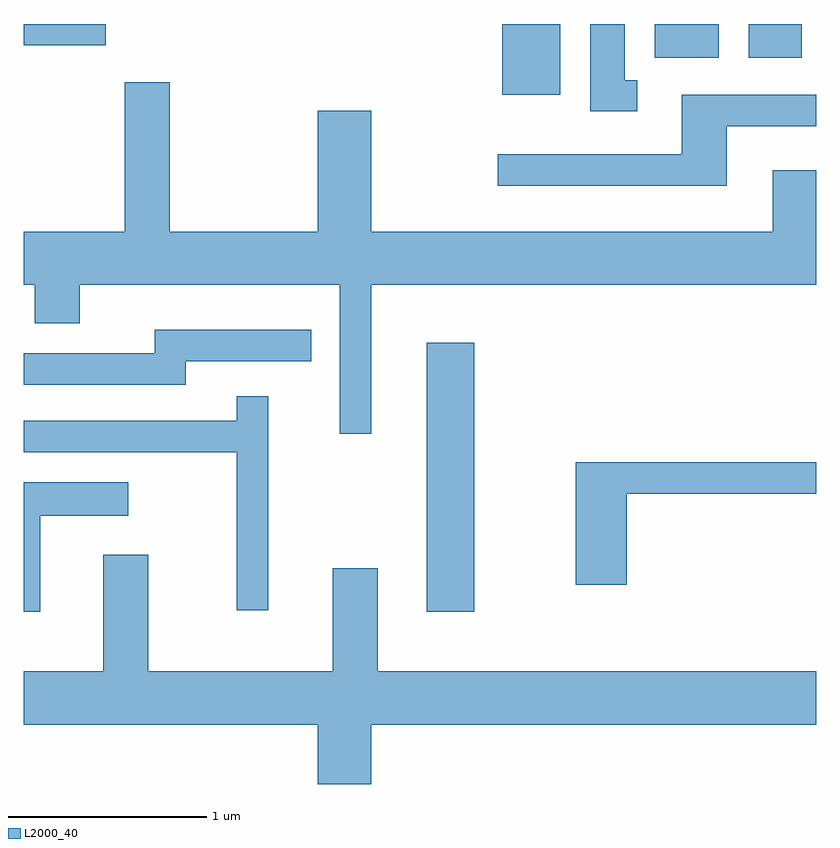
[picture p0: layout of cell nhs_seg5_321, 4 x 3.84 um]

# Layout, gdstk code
import gdstk
lib = gdstk.Library(unit=1e-6, precision=1e-09)
def R(c, l, rs):  # rectangles x0, y0, x1, y1
    for r in rs: c.add(gdstk.rectangle(r[:2], r[2:], *l))
def P(c, l, *ps):  # polygons
    for p in ps: c.add(gdstk.Polygon(p, *l))
L2000_40 = (2000, 40)

nhs_seg5_321 = lib.new_cell('nhs_seg5_321')
R(nhs_seg5_321, L2000_40, [(195.646,1495.106,195.884,1496.464), (196.026,1497.716,196.319,1498.072), (196.796,1497.901,197.119,1498.072), (197.271,1497.901,197.539,1498.072), (193.611,1497.966,194.024,1498.072)])
P(nhs_seg5_321, L2000_40, [(196.708,1497.789),(196.644,1497.789),(196.644,1498.072),(196.471,1498.072),(196.471,1497.631),(196.708,1497.631)],
  [(195.364,1496.756),(197.611,1496.756),(197.611,1497.334),(197.391,1497.334),(197.391,1497.024),(195.364,1497.024),(195.364,1497.634),(195.096,1497.634),(195.096,1497.024),(194.349,1497.024),(194.349,1497.779),(194.121,1497.779),(194.121,1497.024),(193.611,1497.024),(193.611,1496.756),(193.666,1496.756),(193.666,1496.561),(193.894,1496.561),(193.894,1496.756),(195.206,1496.756),(195.206,1496.003),(195.364,1496.003)],
  [(197.159,1497.556),(197.611,1497.556),(197.611,1497.714),(196.931,1497.714),(196.931,1497.414),(196.003,1497.414),(196.003,1497.256),(197.159,1497.256)],
  [(194.429,1496.371),(195.063,1496.371),(195.063,1496.529),(194.271,1496.529),(194.271,1496.409),(193.611,1496.409),(193.611,1496.251),(194.429,1496.251)],
  [(194.844,1496.193),(194.686,1496.193),(194.686,1496.069),(193.611,1496.069),(193.611,1495.911),(194.686,1495.911),(194.686,1495.113),(194.844,1495.113)],
  [(196.654,1495.701),(197.611,1495.701),(197.611,1495.859),(196.396,1495.859),(196.396,1495.241),(196.654,1495.241)],
  [(193.694,1495.591),(194.138,1495.591),(194.138,1495.759),(193.611,1495.759),(193.611,1495.106),(193.694,1495.106)],
  [(195.364,1494.536),(197.611,1494.536),(197.611,1494.804),(195.399,1494.804),(195.399,1495.324),(195.171,1495.324),(195.171,1494.804),(194.239,1494.804),(194.239,1495.394),(194.011,1495.394),(194.011,1494.804),(193.611,1494.804),(193.611,1494.536),(195.096,1494.536),(195.096,1494.236),(195.364,1494.236)])

lib.write_gds('nhs_seg5_321.gds')
